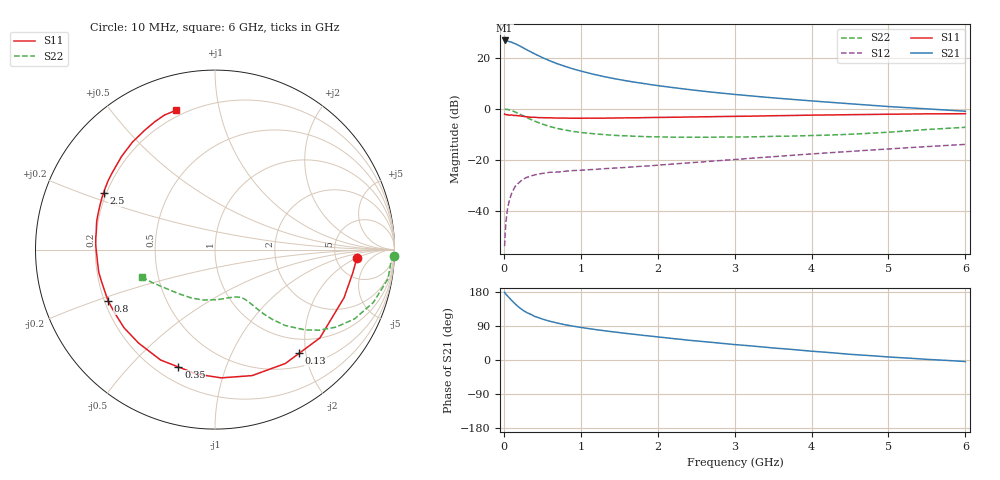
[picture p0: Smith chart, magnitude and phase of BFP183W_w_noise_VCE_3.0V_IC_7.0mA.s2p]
! (c) 2017  Infineon Technologies AG, Munich
! Infineon Technologies  Discrete & RF Semiconductors
! BFP183W
! VCE =  3.0 V,  IC =  7.0 mA
! Common Emitter S-Parameters:  Jan 2017
# GHz  S  MA  R  50
!  f  S11  S21  S12  S22
! GHz  MAG  ANG  MAG  ANG  MAG  ANG  MAG  ANG
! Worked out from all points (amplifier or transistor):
!   77 points, 10 MHz to 6 GHz, reference 50 ohm
!   highest |S21| = 26.9 dB at 10 MHz (marker M1)
!   |S21| within 3 dB of that: start of sweep to 257.9 MHz
!   unconditionally stable (mu >= 1): 1.882 GHz to 4.333 GHz
!   at 130 MHz: K = 0.11, MSG = 28.7 dB, |S12| = -31.5 dB
!   at 2.2 GHz: K = 1.05, MAG = 13.7 dB, |S12| = -21.7 dB
!   at 6 GHz: K = 0.86, MSG = 6.5 dB, |S12| = -14.0 dB
!   lowest NFmin = 0.82 dB at 450 MHz
!   S11 on the Smith chart (normalised r, x): 10 MHz: 8.11, -2.05; 130 MHz: 0.73, -1.88; 350 MHz: 0.28, -0.70; 800 MHz: 0.21, -0.22; 2.5 GHz: 0.19, +0.23; 6 GHz: 0.17, +0.74
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0.01  0.7923 -3.4  22.22 178.7  0.002 86.1  0.9963 -1.9
0.02  0.7784 -9.6  22.12 175.4  0.0041 90.6  0.983 -3.8
0.05  0.7674 -20.4  21.62 168.5  0.0113 79.7  0.9777 -9.6
0.1  0.7642 -40.1  20.57 157.4  0.0215 70.9  0.9297 -18.5
0.13  0.744 -50.9  19.62 151.6  0.0267 65.2  0.8908 -23.1
0.15  0.7458 -58.3  19.11 147.5  0.0302 62.5  0.8683 -26.4
0.2  0.7318 -73.6  17.52 138.6  0.0358 56.2  0.8 -32.7
0.25  0.7155 -87.2  15.97 131.1  0.0416 50.7  0.7339 -37.7
0.3  0.7009 -98.5  14.49 125.0  0.0452 45.6  0.6723 -41.7
0.35  0.6851 -107.3  13.26 120.5  0.0478 42.8  0.6231 -44.3
0.4  0.6858 -116.2  12.12 115.2  0.0505 40.3  0.5753 -47.3
0.5  0.6728 -129.2  10.22 108.0  0.0539 37.0  0.5033 -50.6
0.6  0.6683 -139.3  8.819 102.1  0.0568 33.8  0.4512 -52.8
0.8  0.6606 -154.2  6.844 92.9  0.0595 32.8  0.384 -55.4
1.1  0.6598 -168.9  5.089 83.0  0.0637 33.3  0.3327 -58.2
1.5  0.6654 177.4  3.782 72.4  0.0695 35.6  0.2989 -62.6
2.1  0.6828 161.6  2.749 58.8  0.0804 40.0  0.2801 -72.6
2.5  0.6967 153.0  2.317 50.4  0.0891 42.4  0.2775 -81.2
3.1  0.7175 141.8  1.871 39.1  0.104 44.4  0.281 -94.7
4.1  0.7576 126.1  1.402 21.7  0.1333 44.6  0.3025 -119.0
5.1  0.7895 114.3  1.091 6.8  0.1669 42.0  0.3571 -144.1
6  0.8059 105.8  0.901 -4.1  0.2006 37.5  0.4355 -159.7
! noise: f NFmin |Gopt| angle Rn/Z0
0.45  0.82  0.16  68  0.11
0.9  0.91  0.21  112  0.1
1.9  1.45  0.39  172  0.07
2.4  1.71  0.45  -173  0.09
